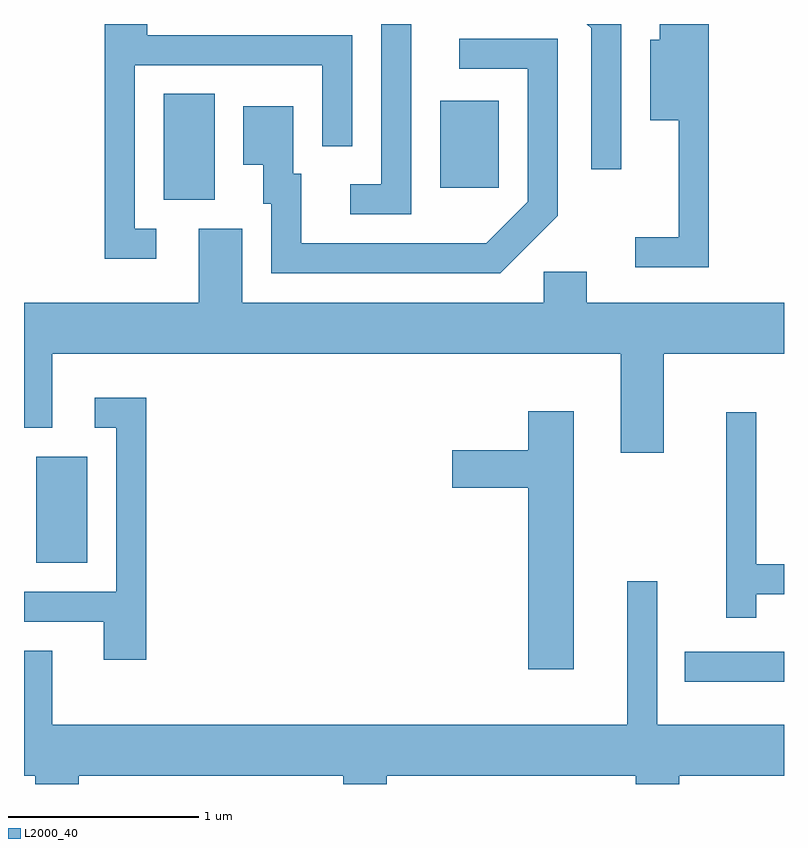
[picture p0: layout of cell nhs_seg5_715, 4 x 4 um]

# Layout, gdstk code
import gdstk
lib = gdstk.Library(unit=1e-6, precision=1e-09)
def R(c, l, rs):  # rectangles x0, y0, x1, y1
    for r in rs: c.add(gdstk.rectangle(r[:2], r[2:], *l))
def P(c, l, *ps):  # polygons
    for p in ps: c.add(gdstk.Polygon(p, *l))
L2000_40 = (2000, 40)

nhs_seg5_715 = lib.new_cell('nhs_seg5_715')
R(nhs_seg5_715, L2000_40, [(209.088,1470.611,209.611,1470.769), (205.676,1471.236,205.944,1471.794), (206.346,1473.146,206.614,1473.704), (207.801,1473.211,208.109,1473.669)])
P(nhs_seg5_715, L2000_40, [(208.754,1474.072),(208.573,1474.072),(208.596,1474.049),(208.596,1473.308),(208.754,1473.308)],
  [(207.649,1474.072),(207.491,1474.072),(207.491,1473.229),(207.328,1473.229),(207.328,1473.071),(207.649,1473.071)],
  [(206.308,1472.994),(206.194,1472.994),(206.194,1473.856),(207.181,1473.856),(207.181,1473.428),(207.339,1473.428),(207.339,1474.014),(206.259,1474.014),(206.259,1474.072),(206.036,1474.072),(206.036,1472.836),(206.308,1472.836)],
  [(209.214,1474.072),(208.956,1474.072),(208.956,1473.989),(208.906,1473.989),(208.906,1473.566),(209.056,1473.566),(209.056,1472.949),(208.828,1472.949),(208.828,1472.791),(209.214,1472.791)],
  [(208.419,1473.064),(208.419,1473.994),(207.903,1473.994),(207.903,1473.836),(208.261,1473.836),(208.261,1473.137),(208.044,1472.919),(207.069,1472.919),(207.069,1473.284),(207.029,1473.284),(207.029,1473.639),(206.766,1473.639),(206.766,1473.331),(206.871,1473.331),(206.871,1473.126),(206.911,1473.126),(206.911,1472.761),(208.117,1472.761)],
  [(208.979,1472.336),(209.611,1472.336),(209.611,1472.604),(208.574,1472.604),(208.574,1472.769),(208.346,1472.769),(208.346,1472.604),(206.759,1472.604),(206.759,1472.994),(206.531,1472.994),(206.531,1472.604),(205.611,1472.604),(205.611,1471.946),(205.759,1471.946),(205.759,1472.336),(208.751,1472.336),(208.751,1471.816),(208.979,1471.816)],
  [(206.254,1472.104),(205.983,1472.104),(205.983,1471.946),(206.096,1471.946),(206.096,1471.084),(205.611,1471.084),(205.611,1470.926),(206.031,1470.926),(206.031,1470.726),(206.254,1470.726)],
  [(208.504,1472.034),(208.266,1472.034),(208.266,1471.829),(207.866,1471.829),(207.866,1471.631),(208.266,1471.631),(208.266,1470.676),(208.504,1470.676)],
  [(209.464,1471.071),(209.611,1471.071),(209.611,1471.229),(209.464,1471.229),(209.464,1472.028),(209.306,1472.028),(209.306,1470.948),(209.464,1470.948)],
  [(205.899,1470.116),(207.291,1470.116),(207.291,1470.072),(207.519,1470.072),(207.519,1470.116),(208.831,1470.116),(208.831,1470.072),(209.059,1470.072),(209.059,1470.116),(209.611,1470.116),(209.611,1470.384),(208.944,1470.384),(208.944,1471.138),(208.786,1471.138),(208.786,1470.384),(205.759,1470.384),(205.759,1470.774),(205.611,1470.774),(205.611,1470.116),(205.671,1470.116),(205.671,1470.072),(205.899,1470.072)])

lib.write_gds('nhs_seg5_715.gds')
